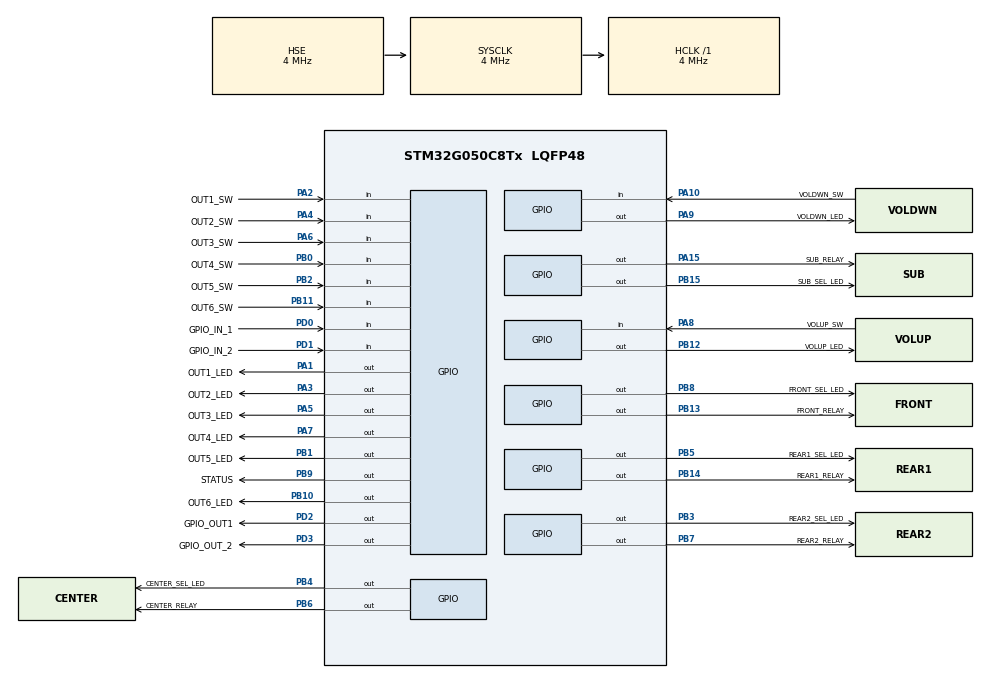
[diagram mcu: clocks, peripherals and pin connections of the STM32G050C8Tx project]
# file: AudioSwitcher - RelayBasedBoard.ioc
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Mcu.Family=STM32G0
Mcu.Name=STM32G050C8Tx
Mcu.Package=LQFP48
PA1.GPIO_Label=OUT1_LED
PA1.Signal=GPIO_Output
PA10.GPIO_Label=VOLDWN_SW
PA10.Signal=GPIO_Input
PA13.Mode=Serial_Wire
PA13.Signal=SYS_SWDIO
PA14-BOOT0.Mode=Serial_Wire
PA14-BOOT0.Signal=SYS_SWCLK
PA15.GPIO_Label=SUB_RELAY
PA15.Signal=GPIO_Output
PA2.GPIO_Label=OUT1_SW
PA2.Signal=GPIO_Input
PA3.GPIO_Label=OUT2_LED
PA3.Signal=GPIO_Output
PA4.GPIO_Label=OUT2_SW
PA4.Signal=GPIO_Input
PA5.GPIO_Label=OUT3_LED
PA5.Signal=GPIO_Output
PA6.GPIO_Label=OUT3_SW
PA6.Signal=GPIO_Input
PA7.GPIO_Label=OUT4_LED
PA7.Signal=GPIO_Output
PA8.GPIO_Label=VOLUP_SW
PA8.Signal=GPIO_Input
PA9.GPIO_Label=VOLDWN_LED
PA9.Signal=GPIO_Output
PB0.GPIO_Label=OUT4_SW
PB0.Signal=GPIO_Input
PB1.GPIO_Label=OUT5_LED
PB1.Signal=GPIO_Output
PB10.GPIO_Label=OUT6_LED
PB10.Signal=GPIO_Output
PB11.GPIO_Label=OUT6_SW
PB11.Signal=GPIO_Input
PB12.GPIO_Label=VOLUP_LED
PB12.Signal=GPIO_Output
PB13.GPIO_Label=FRONT_RELAY
PB13.Signal=GPIO_Output
PB14.GPIO_Label=REAR1_RELAY
PB14.Signal=GPIO_Output
PB15.GPIO_Label=SUB_SEL_LED
PB15.Signal=GPIO_Output
PB2.GPIO_Label=OUT5_SW
PB2.Signal=GPIO_Input
PB3.GPIO_Label=REAR2_SEL_LED
PB3.Signal=GPIO_Output
PB4.GPIO_Label=CENTER_SEL_LED
PB4.Signal=GPIO_Output
PB5.GPIO_Label=REAR1_SEL_LED
PB5.Signal=GPIO_Output
PB6.GPIO_Label=CENTER_RELAY
PB6.Signal=GPIO_Output
PB7.GPIO_Label=REAR2_RELAY
PB7.Signal=GPIO_Output
PB8.GPIO_Label=FRONT_SEL_LED
PB8.Signal=GPIO_Output
PB9.GPIO_Label=STATUS
PB9.PinState=GPIO_PIN_SET
PB9.Signal=GPIO_Output
PD0.GPIO_Label=GPIO_IN_1
PD0.Signal=GPIO_Input
PD1.GPIO_Label=GPIO_IN_2
PD1.Signal=GPIO_Input
PD2.GPIO_Label=GPIO_OUT1
PD2.Signal=GPIO_Output
PD3.GPIO_Label=GPIO_OUT_2
PD3.Signal=GPIO_Output
PF0-OSC_IN\ (PF0).Mode=HSE-External-Oscillator
PF0-OSC_IN\ (PF0).Signal=RCC_OSC_IN
PF1-OSC_OUT\ (PF1).Mode=HSE-External-Oscillator
PF1-OSC_OUT\ (PF1).Signal=RCC_OSC_OUT
ProjectManager.HeapSize=0x200
ProjectManager.StackSize=0x400
ProjectManager.TargetToolchain=STM32CubeIDE
RCC.ADCFreq_Value=4000000
RCC.AHBFreq_Value=4000000
RCC.CortexFreq_Value=4000000
RCC.EXTERNAL_CLOCK_VALUE=48000
RCC.HCLKFreq_Value=4000000
RCC.HSE_VALUE=4000000
RCC.HSI_VALUE=16000000
RCC.LSE_VALUE=32768
RCC.PLLSourceVirtual=RCC_PLLSOURCE_HSE
RCC.SYSCLKFreq_VALUE=4000000
RCC.SYSCLKSource=RCC_SYSCLKSOURCE_HSE
RCC.VCOOutputFreq_Value=32000000
VP_SYS_VS_DBSignals.Mode=DisableDeadBatterySignals
board=custom

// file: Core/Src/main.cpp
/* USER CODE BEGIN Header */
/**
  ******************************************************************************
  * @file           : main.c
  * @brief          : Main program body
  ******************************************************************************
  * @attention
  *
  * Copyright (c) 2024 STMicroelectronics.
  * All rights reserved.
  *
  * This software is licensed under terms that can be found in the LICENSE file
  * in the root directory of this software component.
  * If no LICENSE file comes with this software, it is provided AS-IS.
  *
  ******************************************************************************
  */
/* USER CODE END Header */
#include "main.h"

/* USER CODE BEGIN Includes */
#include "button.hpp"
#include "outputControl.hpp"
/* USER CODE END Includes */

/* USER CODE BEGIN PV */
Button	volUP_SW({VOLUP_SW_GPIO_Port, VOLUP_SW_Pin}, 	{VOLUP_LED_GPIO_Port, VOLUP_LED_Pin}, false);
Button	volDWN_SW({VOLDWN_SW_GPIO_Port, VOLDWN_SW_Pin}, {VOLDWN_LED_GPIO_Port, VOLDWN_LED_Pin}, false);
Button* outputSW[NUM_OF_SWITCHES];

Output* outputs[NUM_OF_OUTPUTS];

OutputControl* outputControl;

uint8_t	outputStateFlag = 0;
uint64_t timeStamp = 0;
/* USER CODE END PV */

void SystemClock_Config(void);
static void MX_GPIO_Init(void);

/* USER CODE BEGIN 0 */
OUTPUT_MODE_e currentMode;
/* USER CODE END 0 */

int main(void)
{

  /* MCU Configuration--------------------------------------------------------*/

  /* Reset of all peripherals, Initializes the Flash interface and the Systick. */
  HAL_Init();

  /* Configure the system clock */
  SystemClock_Config();

  /* Initialize all configured peripherals */
  MX_GPIO_Init();
  /* USER CODE BEGIN 2 */
  outputSW[0] = new Button({OUT1_SW_GPIO_Port, OUT1_SW_Pin}, {OUT1_LED_GPIO_Port, OUT1_LED_Pin});			// Front
  outputSW[1] = new Button({OUT2_SW_GPIO_Port, OUT2_SW_Pin}, {OUT2_LED_GPIO_Port, OUT2_LED_Pin});			// Rear1
  outputSW[2] = new Button({OUT3_SW_GPIO_Port, OUT3_SW_Pin}, {OUT3_LED_GPIO_Port, OUT3_LED_Pin});			// Center, Rear1, Rear2
  outputSW[3] = new Button({OUT4_SW_GPIO_Port, OUT4_SW_Pin}, {OUT4_LED_GPIO_Port, OUT4_LED_Pin});//, false);	// Add/Remove Subwoofer to current selection
  outputSW[4] = new Button({OUT5_SW_GPIO_Port, OUT5_SW_Pin}, {OUT5_LED_GPIO_Port, OUT5_LED_Pin});			// All outputs active
//  outputSW[5] = new Button({OUT6_SW_GPIO_Port, OUT6_SW_Pin}, {OUT6_LED_GPIO_Port, OUT6_LED_Pin});			// TBD

  outputs[0] = new Output({SUB_RELAY_GPIO_Port, 	SUB_RELAY_Pin}, 	{SUB_SEL_LED_GPIO_Port, 	SUB_SEL_LED_Pin});
  outputs[1] = new Output({CENTER_RELAY_GPIO_Port, 	CENTER_RELAY_Pin}, 	{CENTER_SEL_LED_GPIO_Port, 	CENTER_SEL_LED_Pin});
  outputs[2] = new Output({REAR2_RELAY_GPIO_Port, 	REAR2_RELAY_Pin}, 	{REAR2_SEL_LED_GPIO_Port, 	REAR2_SEL_LED_Pin});
  outputs[3] = new Output({REAR1_RELAY_GPIO_Port, 	REAR1_RELAY_Pin}, 	{REAR1_SEL_LED_GPIO_Port, 	REAR1_SEL_LED_Pin});
  outputs[4] = new Output({FRONT_RELAY_GPIO_Port, 	FRONT_RELAY_Pin}, 	{FRONT_SEL_LED_GPIO_Port, 	FRONT_SEL_LED_Pin});

  outputControl = new OutputControl(&currentMode, {GPIO_OUT1_GPIO_Port, GPIO_OUT1_Pin});

  /* USER CODE END 2 */

  /* Infinite loop */
  while (1)
  {

    /* USER CODE BEGIN 3 */

//	  volUP_SW.update();
//	  volDWN_SW.update();

	  for(int i=0; i < NUM_OF_SWITCHES; i++)
	  {
		  outputSW[i]->update();
		  if(outputSW[i]->getButtonState())
		  {
			  OUTPUT_MODE_e mode = (OUTPUT_MODE_e)outputControl->getMode(i);
			  if((mode != currentMode) && (mode != ALL_OFF_MODE))
			  {
				  switch(i)
				  {
					  case OUT1_SW:
						  outputControl->removeAllOutputs();
						  outputControl->addOutput(outputSW[OUT1_SW]);
						  outputControl->addOutput(outputs[4]);
						  outputControl->activate();
						  currentMode = FRONT_MODE;
						  break;
					  case OUT2_SW:
						  outputControl->removeAllOutputs();
						  outputControl->addOutput(outputSW[OUT2_SW]);
						  outputControl->addOutput(outputs[3]);
						  outputControl->activate();
						  currentMode = REAR1_MODE;
						  break;
					  case OUT3_SW:
						  outputControl->removeAllOutputs();
						  outputControl->addOutput(outputSW[OUT3_SW]);
						  outputControl->addOutput(outputs[1]);
						  outputControl->addOutput(outputs[2]);
						  outputControl->addOutput(outputs[3]);
						  outputControl->activate();
						  currentMode = CEN_REAR1_2_MODE;
						  break;
					  case OUT4_SW:
						  if(currentMode < SUBWOOFER_MODE)
						  {
							  int lMode = (int)currentMode + (int)SUBWOOFER_MODE+1;
							  currentMode = (OUTPUT_MODE_e)lMode;
							  outputControl->addOutput(outputSW[OUT4_SW]);
							  outputControl->addOutput(outputs[0]);
							  outputControl->activate();
						  }
						  else if(currentMode < ALL_ACTIVE_MODE)
						  {
							  currentMode = mode;
							  outputControl->removeOutput(outputSW[OUT4_SW]);
							  outputControl->removeOutput(outputs[0]);
						  }
						  break;
					  case OUT5_SW:
						  outputControl->removeAllOutputs();
						  outputControl->addOutput(outputSW[OUT5_SW]);
						  outputControl->addOutput(outputs[1]);
						  outputControl->addOutput(outputs[2]);
						  outputControl->addOutput(outputs[3]);
						  outputControl->addOutput(outputs[4]);
						  outputControl->addOutput(outputs[0]);
						  outputControl->activate();
						  currentMode = ALL_ACTIVE_MODE;
						  break;
//					  case OUT6_SW:
//						  break;
				  }
			  }
			  else
			  {
				  outputControl->removeAllOutputs();
				  currentMode = ALL_OFF_MODE;
			  }
		  }
	  }

	  outputControl->process();

//	  if(outputStateFlag)
//	  {
//		  if((HAL_GetTick() - timeStamp) > STATUS_LED_TOGGLE_PERIOD)
//		  {
//			  timeStamp = HAL_GetTick();
//			  HAL_GPIO_TogglePin(STATUS_GPIO_Port, STATUS_Pin);
//		  }
//	  }
//	  else
//	  {
//		  HAL_GPIO_WritePin(STATUS_GPIO_Port, STATUS_Pin, GPIO_PIN_SET);
//	  }

  }
  /* USER CODE END 3 */
}

void SystemClock_Config(void)
{
  RCC_OscInitTypeDef RCC_OscInitStruct = {0};
  RCC_ClkInitTypeDef RCC_ClkInitStruct = {0};

  /** Configure the main internal regulator output voltage
  */
  HAL_PWREx_ControlVoltageScaling(PWR_REGULATOR_VOLTAGE_SCALE1);

  /** Initializes the RCC Oscillators according to the specified parameters
  * in the RCC_OscInitTypeDef structure.
  */
  RCC_OscInitStruct.OscillatorType = RCC_OSCILLATORTYPE_HSE;
  RCC_OscInitStruct.HSEState = RCC_HSE_ON;
  RCC_OscInitStruct.PLL.PLLState = RCC_PLL_NONE;
  if (HAL_RCC_OscConfig(&RCC_OscInitStruct) != HAL_OK)
  {
    Error_Handler();
  }

  /** Initializes the CPU, AHB and APB buses clocks
  */
  RCC_ClkInitStruct.ClockType = RCC_CLOCKTYPE_HCLK|RCC_CLOCKTYPE_SYSCLK
                              |RCC_CLOCKTYPE_PCLK1;
  RCC_ClkInitStruct.SYSCLKSource = RCC_SYSCLKSOURCE_HSE;
  RCC_ClkInitStruct.AHBCLKDivider = RCC_SYSCLK_DIV1;
  RCC_ClkInitStruct.APB1CLKDivider = RCC_HCLK_DIV1;

  if (HAL_RCC_ClockConfig(&RCC_ClkInitStruct, FLASH_LATENCY_0) != HAL_OK)
  {
    Error_Handler();
  }
}

static void MX_GPIO_Init(void)
{
  GPIO_InitTypeDef GPIO_InitStruct = {0};

  /* GPIO Ports Clock Enable */
  __HAL_RCC_GPIOF_CLK_ENABLE();
  __HAL_RCC_GPIOA_CLK_ENABLE();
  __HAL_RCC_GPIOB_CLK_ENABLE();
  __HAL_RCC_GPIOD_CLK_ENABLE();

  /*Configure GPIO pin Output Level */
  HAL_GPIO_WritePin(GPIOA, OUT1_LED_Pin|OUT2_LED_Pin|OUT3_LED_Pin|OUT4_LED_Pin
                          |VOLDWN_LED_Pin|SUB_RELAY_Pin, GPIO_PIN_RESET);

  /*Configure GPIO pin Output Level */
  HAL_GPIO_WritePin(GPIOB, OUT5_LED_Pin|OUT6_LED_Pin|VOLUP_LED_Pin|FRONT_RELAY_Pin
                          |REAR1_RELAY_Pin|SUB_SEL_LED_Pin|REAR2_SEL_LED_Pin|CENTER_SEL_LED_Pin
                          |REAR1_SEL_LED_Pin|CENTER_RELAY_Pin|REAR2_RELAY_Pin|FRONT_SEL_LED_Pin, GPIO_PIN_RESET);

  /*Configure GPIO pin Output Level */
  HAL_GPIO_WritePin(GPIOD, GPIO_OUT1_Pin|GPIO_OUT_2_Pin, GPIO_PIN_RESET);

  /*Configure GPIO pin Output Level */
  HAL_GPIO_WritePin(STATUS_GPIO_Port, STATUS_Pin, GPIO_PIN_SET);

  /*Configure GPIO pins : OUT1_LED_Pin OUT2_LED_Pin OUT3_LED_Pin OUT4_LED_Pin
                           VOLDWN_LED_Pin SUB_RELAY_Pin */
  GPIO_InitStruct.Pin = OUT1_LED_Pin|OUT2_LED_Pin|OUT3_LED_Pin|OUT4_LED_Pin
                          |VOLDWN_LED_Pin|SUB_RELAY_Pin;
  GPIO_InitStruct.Mode = GPIO_MODE_OUTPUT_PP;
  GPIO_InitStruct.Pull = GPIO_NOPULL;
  GPIO_InitStruct.Speed = GPIO_SPEED_FREQ_LOW;
  HAL_GPIO_Init(GPIOA, &GPIO_InitStruct);

  /*Configure GPIO pins : OUT1_SW_Pin OUT2_SW_Pin OUT3_SW_Pin VOLUP_SW_Pin
                           VOLDWN_SW_Pin */
  GPIO_InitStruct.Pin = OUT1_SW_Pin|OUT2_SW_Pin|OUT3_SW_Pin|VOLUP_SW_Pin
                          |VOLDWN_SW_Pin;
  GPIO_InitStruct.Mode = GPIO_MODE_INPUT;
  GPIO_InitStruct.Pull = GPIO_NOPULL;
  HAL_GPIO_Init(GPIOA, &GPIO_InitStruct);

  /*Configure GPIO pins : OUT4_SW_Pin OUT5_SW_Pin OUT6_SW_Pin */
  GPIO_InitStruct.Pin = OUT4_SW_Pin|OUT5_SW_Pin|OUT6_SW_Pin;
  GPIO_InitStruct.Mode = GPIO_MODE_INPUT;
  GPIO_InitStruct.Pull = GPIO_NOPULL;
  HAL_GPIO_Init(GPIOB, &GPIO_InitStruct);

  /*Configure GPIO pins : OUT5_LED_Pin OUT6_LED_Pin VOLUP_LED_Pin FRONT_RELAY_Pin
                           REAR1_RELAY_Pin SUB_SEL_LED_Pin REAR2_SEL_LED_Pin CENTER_SEL_LED_Pin
                           REAR1_SEL_LED_Pin CENTER_RELAY_Pin REAR2_RELAY_Pin FRONT_SEL_LED_Pin
                           STATUS_Pin */
  GPIO_InitStruct.Pin = OUT5_LED_Pin|OUT6_LED_Pin|VOLUP_LED_Pin|FRONT_RELAY_Pin
                          |REAR1_RELAY_Pin|SUB_SEL_LED_Pin|REAR2_SEL_LED_Pin|CENTER_SEL_LED_Pin
                          |REAR1_SEL_LED_Pin|CENTER_RELAY_Pin|REAR2_RELAY_Pin|FRONT_SEL_LED_Pin
                          |STATUS_Pin;
  GPIO_InitStruct.Mode = GPIO_MODE_OUTPUT_PP;
  GPIO_InitStruct.Pull = GPIO_NOPULL;
  GPIO_InitStruct.Speed = GPIO_SPEED_FREQ_LOW;
  HAL_GPIO_Init(GPIOB, &GPIO_InitStruct);

  /*Configure GPIO pins : GPIO_IN_1_Pin GPIO_IN_2_Pin */
  GPIO_InitStruct.Pin = GPIO_IN_1_Pin|GPIO_IN_2_Pin;
  GPIO_InitStruct.Mode = GPIO_MODE_INPUT;
  GPIO_InitStruct.Pull = GPIO_NOPULL;
  HAL_GPIO_Init(GPIOD, &GPIO_InitStruct);

  /*Configure GPIO pins : GPIO_OUT1_Pin GPIO_OUT_2_Pin */
  GPIO_InitStruct.Pin = GPIO_OUT1_Pin|GPIO_OUT_2_Pin;
  GPIO_InitStruct.Mode = GPIO_MODE_OUTPUT_PP;
  GPIO_InitStruct.Pull = GPIO_NOPULL;
  GPIO_InitStruct.Speed = GPIO_SPEED_FREQ_LOW;
  HAL_GPIO_Init(GPIOD, &GPIO_InitStruct);

}

void Error_Handler(void)
{
  __disable_irq();
  while (1)
  {
  }
}
